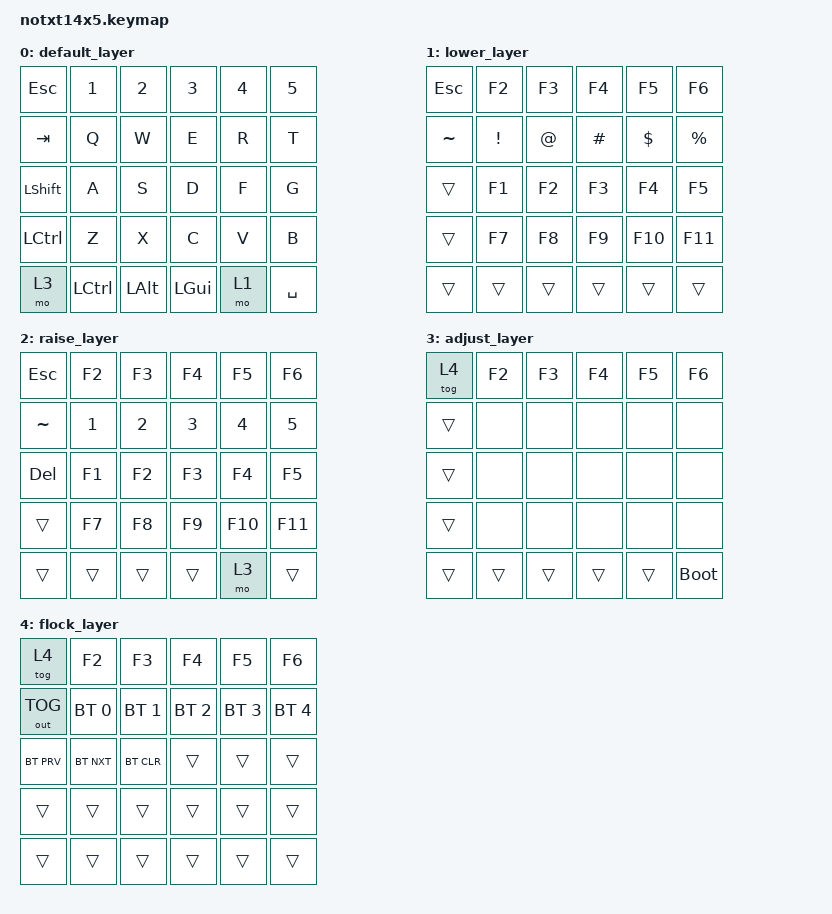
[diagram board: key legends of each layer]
/*
 * Copyright (c) 2021 The ZMK Contributors
 *
 * SPDX-License-Identifier: MIT
 */

#include <behaviors.dtsi>
#include <dt-bindings/zmk/keys.h>
#include <dt-bindings/zmk/bt.h>
#include <dt-bindings/zmk/outputs.h>


/ {
    keymap {
        compatible = "zmk,keymap";

        default_layer {
            // ------------------------------------------------------------------------------------------
            // |  ESC  |  1   |  2   |  3   |  4   |  5   |   6   |  7    |  8   |  9   |   0   | BSPC  |
            // |  TAB  |  Q   |  W   |  E   |  R   |  T   |   Y   |  U    |  I   |  O   |   P   |  \    |
            // | SHIFT |  A   |  S   |  D   |  F   |  G   |   H   |  J    |  K   |  L   |   ;   |  '    |
            // | CTRL  |  Z   |  X   |  C   |  V   |  B   |   N   |  M    |  ,   |  .   |   /   | ENTER |
            // |ADJUST | LCTL | LALT | LGUI | LOWR | SPACE| SPACE |  RAIS | LARW | DARW | UARW  | RARW  |


            bindings = <
                &kp ESC    &kp N1       &kp N2      &kp N3   &kp N4     &kp N5      
                &kp TAB    &kp Q        &kp W       &kp E    &kp R      &kp T       
                &kp LSHFT  &kp A        &kp S       &kp D    &kp F      &kp G       
                &kp LCTRL  &kp Z        &kp X       &kp C    &kp V      &kp B       
                &mo 3      &kp LCTRL    &kp LALT    &kp LGUI &mo 1      &kp SPACE   
            >;
        };

        lower_layer {
            // -------------------------------------------------------------------------------------------
            // |  ESC  |  F2  |  F3  |  F4  |  F5  |  F6  |   F7  |  F8   |  F9  | F10  |  F11  |  F12  |
            // |   ~   |  !   |  @   |  #   |  $   |  %   |   ^   |   &   |  *   |  (   |   )   |  DEL  |
            // |       |  F1  |  F2  |  F3  |  F4  |  F5  |   F6  |   _   |  +   |  {   |   }   |   |   |
            // |       |  F7  |  F8  |  F9  |  F10 |  F11 |   F12 | LS(#) |LS(|) |      |       |       |
            // |       |      |      |      |      |      |       |       | NEXT | Vol- | Vol+ | PLAY   |
            bindings = <
                &kp ESC   &kp F2   &kp F3   &kp F4   &kp F5    &kp F6              
                &kp TILDE &kp EXCL &kp AT   &kp HASH &kp DLLR  &kp PRCNT        
                &trans    &kp F1   &kp F2   &kp F3   &kp F4    &kp F5           
                &trans    &kp F7   &kp F8   &kp F9   &kp F10   &kp F11             
                &trans   &trans   &trans   &trans    &trans    &trans            
            >;
        };

        raise_layer {
            // ------------------------------------------------------------------------------------------
            // |  ESC  |  F2  |  F3  |  F4  |  F5  |  F6  |  F7   |  F8   |  F9  | F10  |  F11  |  F12  |
            // |   ~   |  1   |  2   |  3   |  4   |  5   |  6    |   7   |  8   |  9   |   0   |  DEL  |
            // |  DEL  |  F1  |  F2  |  F3  |  F4  |  F5  |  F6   |   -   |  =   |  [   |   ]   |   \   |
            // |       |  F7  |  F8  |  F9  |  F10 |  F11 |  F12  |   #   |  |   |      |       |       |
            // |       |      |      |      |      |      |       |       |       |      |      |       |
            bindings = <
                &kp ESC   &kp F2   &kp F3   &kp F4   &kp F5    &kp F6  
                &kp TILDE &kp N1   &kp N2   &kp N3   &kp N4    &kp N5  
                &kp DEL   &kp F1   &kp F2   &kp F3   &kp F4    &kp F5 
                &trans    &kp F7   &kp F8   &kp F9   &kp F10   &kp F11 
                &trans    &trans   &trans   &trans   &mo 3     &trans  
            >;
        };

        adjust_layer {
            // ------------------------------------------------------------------------------------------
            // |tog(4)|  F2  |  F3  |  F4  |  F5  |  F6  |  F7  |  F8  |  F9  |  F10 |  F11 |    F12    |
            // |      |  NA  |  NA  |  NA  |  NA  |  NA  |  NA  |  NA  |  NA  |  NA  |  NA  |LALT(PRTSN)|
            // |      |  NA  |  NA  |  NA  |  NA  |  NA  |  NA  |  NA  |  NA  |  NA  |  NA  |   PRTSN   |
            // |      |  NA  |  NA  |  NA  |  NA  |  NA  |  NA  |  NA  |  NA  |  NA  |  NA  |LCTRL(DEL) |
            // |      |      |      |      |      |BOOTLD|BOOTLD|      |      |      |      |           |
            bindings = <
                &tog 4 &kp F2 &kp F3 &kp F4 &kp F5 &kp F6
                &trans &none  &none  &none  &none  &none  
                &trans &none  &none  &none  &none  &none  
                &trans &none  &none  &none  &none  &none  
                &trans &trans &trans &trans &trans &bootloader   
            >;
        };

        flock_layer {
            // ----------------------------------------------------------------------------------------------
            // |tog(4) |  F2    |   F3   |   F4   |   F5   |   F6   |  F7  |  F8  |  F9  | F10 | F11 |      |
            // |out tog|BT_SEL 0|BT_SEL 1|BT_SEL 2|BT_SEL 3|BT_SEL 4|BT_PRV|BT_NXT|BT_CLR|     |     |      |
            // |       |        |        |        |        |        |      |      |      |     |     |      |
            // |       |        |        |        |        |        |      |      |      |     |     |      |
            // |       |        |        |        |        |        |      |      |      |     |     |      |
            bindings = <
                &tog 4       &kp F2       &kp F3       &kp F4       &kp F5       &kp F6       
                &out OUT_TOG &bt BT_SEL 0 &bt BT_SEL 1 &bt BT_SEL 2 &bt BT_SEL 3 &bt BT_SEL 4 
                &bt BT_PRV   &bt BT_NXT   &bt BT_CLR   &trans       &trans       &trans      
                &trans       &trans       &trans       &trans       &trans       &trans      
                &trans       &trans       &trans       &trans       &trans       &trans       
            >;
        };
    };
};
